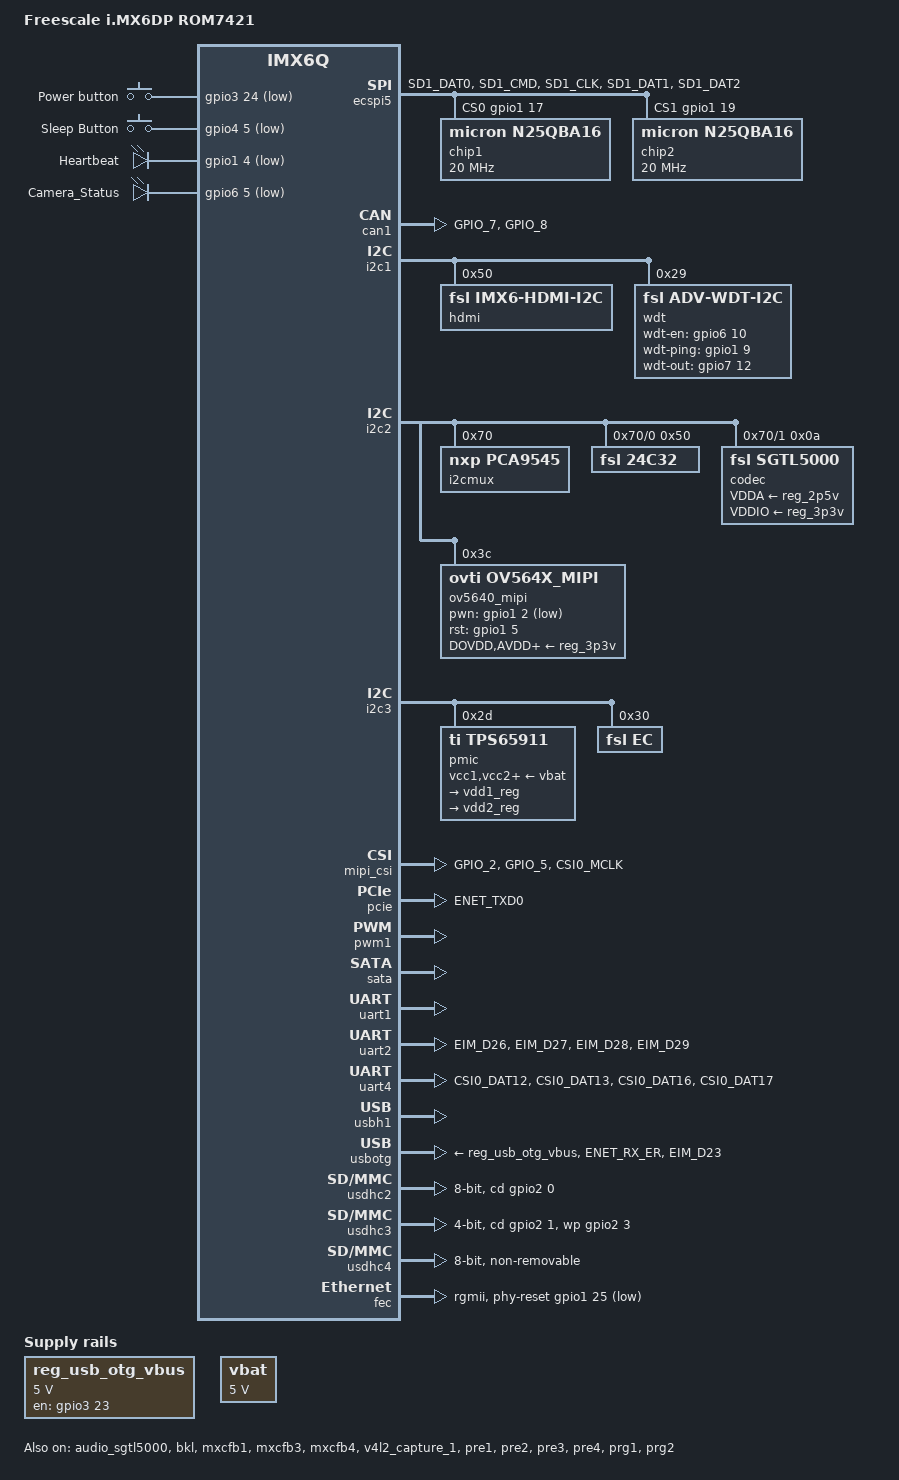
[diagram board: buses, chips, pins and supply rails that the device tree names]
/*
 * Copyright 2012 Freescale Semiconductor, Inc.
 * Copyright 2011 Linaro Ltd.
 *
 * The code contained herein is licensed under the GNU General Public
 * License. You may obtain a copy of the GNU General Public License
 * Version 2 or later at the following locations:
 *
 * http://www.opensource.org/licenses/gpl-license.html
 * http://www.gnu.org/copyleft/gpl.html
 */

/dts-v1/;

#include "imx6q.dtsi"
#include "imx6qdl-advantech.dtsi"
#include "imx6qp.dtsi"

/ {
	model = "Freescale i.MX6DP ROM7421";
	compatible = "fsl,imx6q-sabresd", "fsl,imx6q";

	board {
		compatible = "proc-board";
		board-type = "ROM-7421 A1";
		board-cpu = "DualPlus";
	};

	regulators {
		reg_usb_otg_vbus: usb_otg_vbus {
			compatible = "regulator-fixed";
			regulator-name = "usb_otg_vbus";
			regulator-min-microvolt = <5000000>;
			regulator-max-microvolt = <5000000>;
			gpio = <&gpio3 23 GPIO_ACTIVE_HIGH>;
			enable-active-high;
		};
	};

	gpio-keys {
		compatible = "gpio-keys";
		#address-cells = <1>;
		#size-cells = <0>;
		pinctrl-0 = <&pinctrl_gpio_power_1 &pinctrl_gpio_sleep_1>;
		pinctrl-names = "default";
		power@1 {
			label = "Power button";
			gpios = <&gpio3 24 1>; /* GPIO_ACTIVE_LOW:1 */
			linux,input-type = <22>; /* EV_PWR */
			linux,code = <116>; /* KEY_POWER:116 */
			debounce_interval = <1>;
                };
		sleep@2 {
			label = "Sleep Button";
			gpios = <&gpio4 5 1>;
			linux,input-type = <1>; /* EV_KEY */
			linux,code = <116>; /* KEY_SUSPEND */
			debounce_interval = <1>;
			gpio-key,wakeup;
		};
	};

	leds {
		compatible = "gpio-leds";
		pinctrl-names = "default";
		pinctrl-0 = <&pinctrl_leds_status_1>;
		status-led {
			label = "Heartbeat";
			gpios = <&gpio1 4 1>;
			linux,default-trigger = "heartbeat";
		};
	};

	vbat: fixedregulator@0 {
		compatible = "regulator-fixed";
		regulator-name = "vbat";
		regulator-min-microvolt = <5000000>;
		regulator-max-microvolt = <5000000>;
		regulator-boot-on;
	};

	camera-leds {
		compatible = "gpio-leds";
		pinctrl-names = "default";
		pinctrl-0 = <&pinctrl_leds_status_2>;
		status-led {
			label = "Camera_Status";
			gpios = <&gpio6 5 1>;
			linux,default-trigger = "heartbeat";
		};
	};
};

&audio_sgtl5000 {
	audio-codec = <&codec>;
	status = "okay";
};

&bkl {
	lvds-bkl-enable = <&gpio6 9 1>;
	lvds-vcc-enable = <&gpio6 7 1>;
	pwms = <&pwm1 0 5000000>;
	status = "okay";
};

&ecspi1 {
	cs-gpios = <&gpio3 19 0>;
};

&ecspi5 {
	fsl,spi-num-chipselects = <2>;
	cs-gpios = <&gpio1 17 0>, <&gpio1 19 0>;
	pinctrl-names = "default";
	pinctrl-0 = <&pinctrl_ecspi5_1 &pinctrl_ecspi5_cs_0 &pinctrl_ecspi5_cs_1>;
	status = "okay";

	chip1: m25p80@0 {
		compatible = "micron,n25qba16";
		spi-max-frequency = <20000000>;
		reg = <0>;
	};
	chip2: m25p80@1 {
		compatible = "micron,n25qba16";
		spi-max-frequency = <20000000>;
		reg = <1>;
	};
};

&can1 {
	pinctrl-names = "default";
	pinctrl-0 = <&pinctrl_flexcan1_1>;
	status = "okay";
};


&i2c1 {

	hdmi: edid@50 {
		compatible = "fsl,imx6-hdmi-i2c";
		reg = <0x50>;
	};

	wdt@29 {
		compatible = "fsl,adv-wdt-i2c";
		pinctrl-names = "default";
		pinctrl-0 = <&pinctrl_wdt_en_1 &pinctrl_wdt_ping_1 &pinctrl_wdt_out_1>;
		status = "okay";
		wdt-en = <&gpio6 10 0>;
		wdt-ping = <&gpio1 9 0>;
		wdt-out = <&gpio7 12 0>;
		reg = <0x29>;
	};
};

&i2c2 {
	i2cmux@70 {
		#address-cells = <1>;
		#size-cells = <0>;
		compatible = "nxp,pca9545";
		reg = <0x70>;
	
		i2c2@0 {
			reg = <0>;
			#address-cells = <1>;
			#size-cells = <0>;

			24c32@50 {
				compatible = "fsl,24c32";
				reg = <0x50>;
			};
		};
	
		i2c2@1 {
			reg = <1>;
			#address-cells = <1>;
			#size-cells = <0>;

			codec: sgtl5000@0a {
				compatible = "fsl,sgtl5000";
				reg = <0x0a>;
				clocks = <&clks 201>;
				VDDA-supply = <&reg_2p5v>;
				VDDIO-supply = <&reg_3p3v>;
				mclk = <16000000>;
				mclk_source = <0>;
			};
		};
	};

	ov5640_mipi: ov564x_mipi@3c {
		compatible = "ovti,ov564x_mipi";
		reg = <0x3c>;
		clocks = <&clks 201>;
		clock-names = "csi_mclk";
		DOVDD-supply = <&reg_3p3v>; /* 3.3v, enabled via 2.8 VGEN6 */
		AVDD-supply = <&reg_3p3v>;  /* 1.8v */
		DVDD-supply = <&reg_3p3v>;  /* 1.8v */
		PVDD-supply = <&reg_3p3v>;  /* 1.8v */
		pwn-gpios = <&gpio1 2 1>;   /* active low: MIPICSI_PWN */
		rst-gpios = <&gpio1 5 0>;   /* active high: MIPICSI_RST */
		csi_id = <1>;
		mclk = <24000000>;
		mclk_source = <0>;
	};
};

&i2c3 {
	pmic: tps65911@2d {
		compatible = "ti,tps65911";
		reg = <0x2d>;
		interrupts = <0 86 0x4>;
		#interrupt-cells = <2>;
		interrupt-controller;

		ti,system-power-controller;

		#gpio-cells = <2>;
		gpio-controller;

		vcc1-supply = <&vbat>;
		vcc2-supply = <&vbat>;
		vcc3-supply = <&vbat>;
		vcc4-supply = <&vbat>;
		vcc5-supply = <&vbat>;
		vcc6-supply = <&vbat>;
		vcc7-supply = <&vbat>;
		vccio-supply = <&vbat>;

		regulators {
			vrtc_reg: regulator@0 {
				regulator-always-on;
			};

			vio_reg: regulator@1 {
				regulator-always-on;
			};

			vdd1_reg: regulator@2 {
				/* VDD_MPU voltage limits 0.95V - 1.26V with +/-4% tolerance */
				regulator-name = "vdd_mpu";
				/* regulator-min-microvolt = <912500>; */
				/* regulator-max-microvolt = <1312500>; */
				regulator-boot-on;
				regulator-always-on;
			};

			vdd2_reg: regulator@3 {
				/* VDD_CORE voltage limits 0.95V - 1.1V with +/-4% tolerance */
				regulator-name = "vdd_core";
				/* regulator-min-microvolt = <912500>; */
				/* regulator-max-microvolt = <1150000>; */
				regulator-boot-on;
				regulator-always-on;
			};

			vdd3_reg: regulator@4 {
				regulator-always-on;
			};

			vdig1_reg: regulator@5 {
				regulator-always-on;
			};

			vdig2_reg: regulator@6 {
				regulator-always-on;
			};

			vpll_reg: regulator@7 {
				regulator-always-on;
			};

			vdac_reg: regulator@8 {
				regulator-always-on;
			};

			vaux1_reg: regulator@9 {
				regulator-always-on;
			};

			vaux2_reg: regulator@10 {
				regulator-always-on;
			};

			vaux33_reg: regulator@11 {
				regulator-always-on;
			};

			vmmc_reg: regulator@12 {
				/* regulator-min-microvolt = <1800000>; */
				/* regulator-max-microvolt = <3300000>; */
				regulator-always-on;
			};
		};
	};

	ec@30 {
		compatible = "fsl,ec";
		reg = <0x30>;
	};
};

&iomuxc {
	pinctrl-names = "default";
	pinctrl-0 = <&pinctrl_hog_1 &pinctrl_hog_2>;

	can1 {
		pinctrl_flexcan1_1: flexcan1grp-1 {
			fsl,pins = <
				MX6QDL_PAD_GPIO_7__FLEXCAN1_TX		0x80000000
				MX6QDL_PAD_GPIO_8__FLEXCAN1_RX		0x80000000
			>;
		};
	};

	gpio-keys {
		pinctrl_gpio_power_1: gpio_power1grp-1 {
			fsl,pins = <
				MX6QDL_PAD_EIM_D24__GPIO3_IO24          0x80000000      /* Power Button */
			>;
		};
		pinctrl_gpio_sleep_1: gpio_sleep1grp-1 {
			fsl,pins = <
				MX6QDL_PAD_GPIO_19__GPIO4_IO05		0x80000000	/* SLEEP Button */
			>;
		};
	};

	hog {
		/* Common GPIO */
		pinctrl_hog_1: hoggrp-1 {
			fsl,pins = <
				MX6QDL_PAD_NANDF_D0__GPIO2_IO00 	0x80000000	/* SD2_MICRO_CD */
				MX6QDL_PAD_NANDF_D1__GPIO2_IO01		0x80000000	/* SD3_Q7_CD */
				MX6QDL_PAD_NANDF_D3__GPIO2_IO03		0x80000000	/* SD3_Q7_WP */
				MX6QDL_PAD_NANDF_D2__GPIO2_IO02		0x80000000	/* SD3_Q7_PWREN */
				MX6QDL_PAD_EIM_D30__GPIO3_IO30 		0x80000000	/* BORAD_ID0 */
				MX6QDL_PAD_EIM_D31__GPIO3_IO31		0x80000000	/* BORAD_ID1 */
				MX6QDL_PAD_GPIO_0__CCM_CLKO1		0x130b0		/* AUDIO CLK */
			>;
		};
		pinctrl_hog_2: hoggrp-2 {
			fsl,pins = <
				MX6QDL_PAD_NANDF_CS0__GPIO6_IO11	0x80000000	/* GPIO1 */
				MX6QDL_PAD_NANDF_CS1__GPIO6_IO14	0x80000000	/* GPIO2 */
				MX6QDL_PAD_NANDF_CS2__GPIO6_IO15	0x80000000	/* GPIO3 */
				MX6QDL_PAD_NANDF_CS3__GPIO6_IO16	0x80000000	/* GPIO4 */
				MX6QDL_PAD_EIM_OE__GPIO2_IO25           0x80000000      /* GPIO5 */
				MX6QDL_PAD_EIM_CS0__GPIO2_IO23          0x80000000      /* GPIO6 */
				MX6QDL_PAD_EIM_CS1__GPIO2_IO24          0x80000000      /* GPIO7 */
				MX6QDL_PAD_EIM_A25__GPIO5_IO02          0x80000000      /* GPIO8 */
			>;
		};
	};

	lvds {
		pinctrl_lvds_bkl_1: lvds_bklgrp-1 {
			fsl,pins = <
				MX6QDL_PAD_NANDF_WP_B__GPIO6_IO09	0x170b0		/* LCD_BKLT_EN */
			>;
		};
		pinctrl_lvds_vcc_1: lvds_vccgrp-1 {
			fsl,pins = <
				MX6QDL_PAD_NANDF_CLE__GPIO6_IO07	0x170b0		/* LCD_VDD_EN */
			>;
		};
	};

	leds {
		pinctrl_leds_status_1: leds_status1grp-1{
			fsl,pins = <
				MX6QDL_PAD_GPIO_4__GPIO1_IO04		0x80000000	/* gpio-led: SYS_STATUS  */
			>;
		};

		pinctrl_leds_status_2: leds_status1grp-2{
			fsl,pins = <
				MX6QDL_PAD_CSI0_DAT19__GPIO6_IO05	0x80000000	/* gpio-led for camera status: CSI1_GPIO */
			>;
		};
	};

	mipi-csi {
		pinctrl_mipi_csi_1: mipi_csi1grp-1{
			fsl,pins = <
				MX6QDL_PAD_GPIO_2__GPIO1_IO02		0x80000000	/* MIPICSI_PWN */
				MX6QDL_PAD_GPIO_5__GPIO1_IO05		0x80000000	/* MIPICSI_RST */
				MX6QDL_PAD_CSI0_MCLK__CCM_CLKO1		0x80000000	/* CSI0_MCLK */
			>;
		};
	};

	pcie {
		pinctrl_pcie_1: pcie1grp-1 {
			fsl,pins = <
				MX6QDL_PAD_ENET_TXD0__GPIO1_IO30	0x0001B0B0	/* PCIE_WAKE */
			>;
		};
	};

	spi1 {
		pinctrl_ecspi1_cs_0: ecspi1_cs_grp-0 {
			fsl,pins = <
				MX6QDL_PAD_EIM_D19__GPIO3_IO19		0x80000000	/* ECSPI1_CS1 */
			>;
		};
	};

	spi5 {
		pinctrl_ecspi5_cs_0: ecspi5_cs_grp-0 {
			fsl,pins = <
				MX6QDL_PAD_SD1_DAT1__GPIO1_IO17		0x80000000
			>;
		};

		pinctrl_ecspi5_cs_1: ecspi5_cs_grp-1 {
			fsl,pins = <
				MX6QDL_PAD_SD1_DAT2__GPIO1_IO19		0x80000000
			>;
		};

		pinctrl_ecspi5_1: ecspi5grp-1 {
			fsl,pins = <
				MX6QDL_PAD_SD1_DAT0__ECSPI5_MISO	0x100b1
				MX6QDL_PAD_SD1_CMD__ECSPI5_MOSI		0x100b1
				MX6QDL_PAD_SD1_CLK__ECSPI5_SCLK		0x100b1
			>;
		};
	};

	uart2 {
                pinctrl_uart2_3: uart2grp-3 {
                        fsl,pins = <
				MX6QDL_PAD_EIM_D26__UART2_TX_DATA       0x1b0b1
				MX6QDL_PAD_EIM_D27__UART2_RX_DATA       0x1b0b1
				MX6QDL_PAD_EIM_D28__UART2_CTS_B		0x1b0b1
				MX6QDL_PAD_EIM_D29__UART2_RTS_B		0x1b0b1
				/* MX6QDL_PAD_EIM_D28__UART2_DTE_CTS_B     0x1b0b1 */
				/* MX6QDL_PAD_EIM_D29__UART2_DTE_RTS_B     0x1b0b1 */
                        >;
                };
        };

	uart4 {
                pinctrl_uart4_2: uart4grp-2 {
                        fsl,pins = <
				MX6QDL_PAD_CSI0_DAT12__UART4_TX_DATA    0x1b0b1
				MX6QDL_PAD_CSI0_DAT13__UART4_RX_DATA    0x1b0b1
				MX6QDL_PAD_CSI0_DAT16__UART4_RTS_B	0x1b0b1
				MX6QDL_PAD_CSI0_DAT17__UART4_CTS_B	0x1b0b1
                        >;
                };
        };

	usbotg {
		pinctrl_usbotg_pwr_1: usbotg_pwr_grp-1 {
			fsl,pins = <
				MX6QDL_PAD_EIM_D23__GPIO3_IO23		0x000130B0 /* USB_OTG_PWR*/
			>;
		};
		pinctrl_usbotg_2: usbotggrp-2 {
			fsl,pins = <
				MX6QDL_PAD_ENET_RX_ER__USB_OTG_ID	0x0001B0B0 /* USB_OTG_ID */
			>;
		};
	};

	wdt{
		pinctrl_wdt_en_1: wdt_engrp-1 {
			fsl,pins = <
				MX6QDL_PAD_NANDF_RB0__GPIO6_IO10	0x80000000
			>;
		};

		pinctrl_wdt_ping_1: wdt_pinggrp-1 {
			fsl,pins = <
				MX6QDL_PAD_GPIO_9__GPIO1_IO09		0x80000000
			>;
		};

		pinctrl_wdt_out_1: wdt_outgrp-1 {
			fsl,pins = <
				MX6QDL_PAD_GPIO_17__GPIO7_IO12		0x80000000 /* PCIE_RST - Watchdog out at present */
			>;
		};
	};
};

&hdmi_core {
	ipu_id = <0>; 
	disp_id = <0>; 
};

&ldb {
	lvds-channel@1 {
		crtc = "ipu2-di1";
	};
};

&mipi_csi {
	pinctrl-names = "default";
	pinctrl-0 = <&pinctrl_mipi_csi_1>;
	status = "okay";
};

&mxcfb1 {
	prefetch;
	status = "okay";
};

&mxcfb3 {
	prefetch;
	status = "okay";
};

&mxcfb4 {
	prefetch;
	status = "okay";
};

&pcie {
	pinctrl-names = "default";
	pinctrl-0 = <&pinctrl_pcie_1>;
	wake-up-gpio = <&gpio1 30 0>;
	status = "okay";
};

&pwm1 {
	pinctrl-names = "default";
	pinctrl-0 = <&pinctrl_pwm1_1>;
	status = "okay";
};

&sata {
	status = "okay";
};

&uart1 {
	pinctrl-names = "default";
	pinctrl-0 = <&pinctrl_uart1_1>;
	status = "okay";
};

&uart2 {
	pinctrl-names = "default";
	pinctrl-0 = <&pinctrl_uart2_3>;
	status = "okay";
};

&uart4 {
        pinctrl-names = "default";
        pinctrl-0 = <&pinctrl_uart4_2>;
        status = "okay";
};

&usbh1 {
	status = "okay";
};

&usbotg {
	pinctrl-names = "default";
	pinctrl-0 = <&pinctrl_usbotg_2 &pinctrl_usbotg_pwr_1>;
	vbus-supply = <&reg_usb_otg_vbus>;
	/* imx6-usb-charger-detection; */
	status = "okay";
};

&usdhc2 {
	pinctrl-names = "default";
	pinctrl-0 = <&pinctrl_usdhc2_2>;
	bus-width = <8>;
	cd-gpios = <&gpio2 0 0>;
	status = "okay";
};

&usdhc3 {
	pinctrl-names = "default";
	pinctrl-0 = <&pinctrl_usdhc3_2>;
	bus-width = <4>;
	cd-gpios = <&gpio2 1 0>;
	wp-gpios = <&gpio2 3 0>;
	en-gpios = <&gpio2 2 0>;
	status = "okay";
};

&usdhc4 {
	pinctrl-names = "default";
	pinctrl-0 = <&pinctrl_usdhc4_1>;
	bus-width = <8>;
	non-removable;
	no-1-8-v;
	status = "okay";
};

&fec {
	pinctrl-names = "default";
	pinctrl-0 = <&pinctrl_enet1_1 &pinctrl_enet1_rst_1>;
	phy-mode = "rgmii";
	phy-reset-gpios = <&gpio1 25 1>; /* GPIO_ACTIVE_LOW 1 */
	status = "okay";
};

&v4l2_capture_1 {
	status = "okay";
};
&pre1 {
	status = "okay";
};

&pre2 {
	status = "okay";
};

&pre3 {
	status = "okay";
};

&pre4 {
	status = "okay";
};

&prg1 {
	memory-region = <&memory>;
	status = "okay";
};

&prg2 {
	memory-region = <&memory>;
	status = "okay";
};
